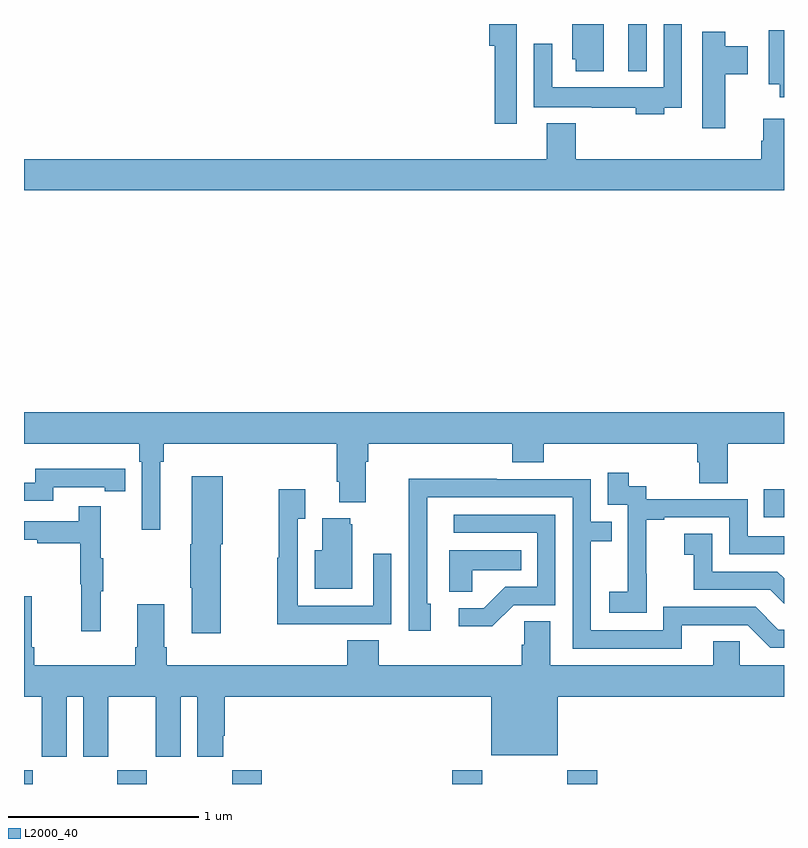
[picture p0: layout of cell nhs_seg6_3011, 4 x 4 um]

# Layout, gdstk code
import gdstk
lib = gdstk.Library(unit=1e-6, precision=1e-09)
def R(c, l, rs):  # rectangles x0, y0, x1, y1
    for r in rs: c.add(gdstk.rectangle(r[:2], r[2:], *l))
def P(c, l, *ps):  # polygons
    for p in ps: c.add(gdstk.Polygon(p, *l))
L2000_40 = (2000, 40)

nhs_seg6_3011 = lib.new_cell('nhs_seg6_3011')
R(nhs_seg6_3011, L2000_40, [(287,989.5,287.046,989.572), (287.491,989.5,287.646,989.572), (288.095,989.5,288.251,989.572), (289.253,989.5,289.413,989.572), (289.858,989.5,290.018,989.572), (290.893,990.903,291,991.051), (290.18,993.251,290.277,993.5)])
P(nhs_seg6_3011, L2000_40, [(290.371,993.06),(290.463,993.06),(290.463,993.5),(290.367,993.5),(290.367,993.166),(289.779,993.166),(289.779,993.397),(289.683,993.397),(289.683,993.062),(289.987,993.062),(289.987,993.06),(290.219,993.06),(290.219,993.026),(290.371,993.026)],
  [(290.05,993.5),(289.886,993.5),(289.886,993.315),(289.904,993.315),(289.904,993.252),(290.05,993.252)],
  [(289.593,993.5),(289.448,993.5),(289.448,993.386),(289.477,993.386),(289.477,992.976),(289.593,992.976)],
  [(291,993.466),(290.921,993.466),(290.921,993.182),(290.978,993.182),(290.978,993.114),(291,993.114)],
  [(290.692,993.235),(290.809,993.235),(290.809,993.382),(290.692,993.382),(290.692,993.46),(290.57,993.46),(290.57,992.952),(290.692,992.952)],
  [(291,993.001),(290.891,993.001),(290.891,992.886),(290.879,992.886),(290.879,992.788),(289.904,992.788),(289.904,992.977),(289.751,992.977),(289.751,992.788),(287,992.788),(287,992.624),(291,992.624)],
  [(287.716,991.196),(287.735,991.196),(287.735,991.292),(288.647,991.292),(288.647,991.09),(288.659,991.09),(288.659,990.983),(288.799,990.983),(288.799,991.196),(288.812,991.196),(288.812,991.292),(289.571,991.292),(289.571,991.193),(289.736,991.193),(289.736,991.292),(290.543,991.292),(290.543,991.194),(290.555,991.194),(290.555,991.084),(290.703,991.084),(290.703,991.292),(291,991.292),(291,991.456),(287,991.456),(287,991.292),(287.606,991.292),(287.606,991.196),(287.619,991.196),(287.619,990.837),(287.716,990.837)],
  [(287.154,991.062),(287.426,991.062),(287.426,991.042),(287.534,991.042),(287.534,991.158),(287.426,991.158),(287.426,991.159),(287.058,991.159),(287.058,991.086),(287,991.086),(287,990.99),(287.154,990.99)],
  [(290.277,990.607),(290.276,990.607),(290.276,990.891),(290.371,990.891),(290.371,990.903),(290.712,990.903),(290.712,990.708),(291,990.708),(291,990.804),(290.808,990.804),(290.808,990.999),(290.274,990.999),(290.274,991.068),(290.182,991.068),(290.182,991.138),(290.073,991.138),(290.073,990.969),(290.178,990.969),(290.178,990.74),(290.177,990.74),(290.177,990.511),(290.079,990.511),(290.079,990.401),(290.277,990.401)],
  [(288.036,990.762),(288.046,990.762),(288.046,991.12),(287.882,991.12),(287.882,990.762),(287.875,990.762),(287.875,990.532),(287.882,990.532),(287.882,990.294),(288.036,990.294)],
  [(290.461,990.336),(290.808,990.336),(290.928,990.216),(291,990.216),(291,990.312),(290.97,990.312),(290.85,990.432),(290.364,990.432),(290.364,990.309),(289.983,990.309),(289.983,990.778),(290.093,990.778),(290.093,990.879),(289.983,990.879),(289.983,991.104),(289.487,991.104),(289.487,991.106),(289.024,991.106),(289.024,990.799),(289.026,990.799),(289.026,990.306),(289.141,990.306),(289.141,990.45),(289.122,990.45),(289.122,991.008),(289.887,991.008),(289.887,990.213),(290.461,990.213)],
  [(288.617,990.342),(288.933,990.342),(288.933,990.712),(288.837,990.712),(288.837,990.438),(288.441,990.438),(288.441,990.895),(288.481,990.895),(288.481,991.051),(288.34,991.051),(288.34,990.692),(288.333,990.692),(288.333,990.341),(288.617,990.341)],
  [(287.405,990.515),(287.416,990.515),(287.416,990.689),(287.405,990.689),(287.405,990.961),(287.287,990.961),(287.287,990.882),(287,990.882),(287,990.786),(287.071,990.786),(287.071,990.766),(287.295,990.766),(287.295,990.552),(287.302,990.552),(287.302,990.303),(287.405,990.303)],
  [(289.578,990.441),(289.797,990.441),(289.797,990.918),(289.263,990.918),(289.263,990.822),(289.701,990.822),(289.701,990.537),(289.532,990.537),(289.421,990.426),(289.287,990.426),(289.287,990.329),(289.465,990.329)],
  [(288.727,990.867),(288.716,990.867),(288.716,990.898),(288.569,990.898),(288.569,990.73),(288.53,990.73),(288.53,990.527),(288.727,990.527)],
  [(291,990.582),(290.964,990.618),(290.622,990.618),(290.622,990.817),(290.475,990.817),(290.475,990.707),(290.524,990.707),(290.524,990.522),(290.927,990.522),(291,990.449)],
  [(289.359,990.626),(289.616,990.626),(289.616,990.73),(289.238,990.73),(289.238,990.511),(289.359,990.511)],
  [(289.81,989.96),(291,989.96),(291,990.124),(290.766,990.124),(290.766,990.251),(290.627,990.251),(290.627,990.124),(289.771,990.124),(289.771,990.356),(289.632,990.356),(289.632,990.233),(289.619,990.233),(289.619,990.124),(288.866,990.124),(288.866,990.257),(288.701,990.257),(288.701,990.124),(287.75,990.124),(287.75,990.22),(287.737,990.22),(287.737,990.445),(287.597,990.445),(287.597,990.22),(287.585,990.22),(287.585,990.124),(287.054,990.124),(287.054,990.22),(287.041,990.22),(287.041,990.487),(287,990.487),(287,989.96),(287.093,989.96),(287.093,989.643),(287.224,989.643),(287.224,989.96),(287.312,989.96),(287.312,989.643),(287.443,989.643),(287.443,989.96),(287.693,989.96),(287.693,989.643),(287.824,989.643),(287.824,989.96),(287.912,989.96),(287.912,989.643),(288.049,989.643),(288.049,989.755),(288.056,989.755),(288.056,989.96),(289.46,989.96),(289.46,989.651),(289.81,989.651)])

lib.write_gds('nhs_seg6_3011.gds')
